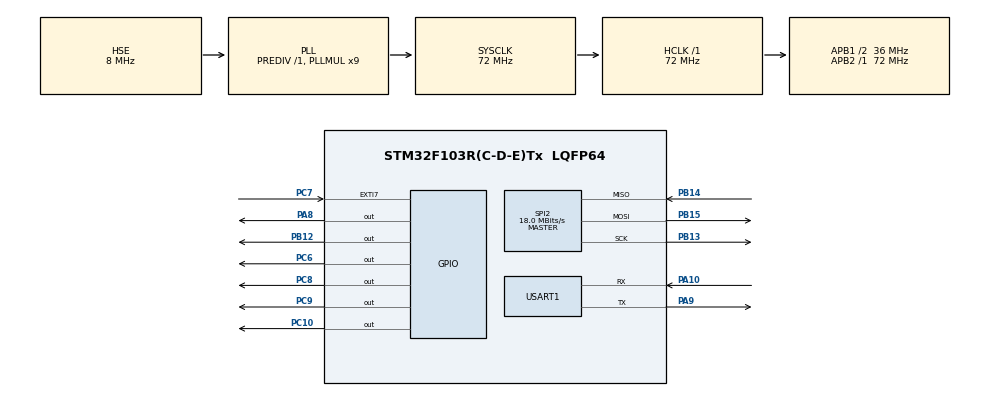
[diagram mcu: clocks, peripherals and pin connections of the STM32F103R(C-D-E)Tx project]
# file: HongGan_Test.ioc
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Mcu.Family=STM32F1
Mcu.Name=STM32F103R(C-D-E)Tx
Mcu.Package=LQFP64
NVIC.EXTI9_5_IRQn=true\:1\:0\:true\:false\:true\:true\:true
NVIC.PriorityGroup=NVIC_PRIORITYGROUP_4
NVIC.TIM2_IRQn=true\:2\:0\:true\:false\:true\:true\:true
NVIC.USART1_IRQn=true\:0\:0\:false\:false\:true\:true\:true
PA10.Mode=Asynchronous
PA10.Signal=USART1_RX
PA8.Signal=GPIO_Output
PA9.Mode=Asynchronous
PA9.Signal=USART1_TX
PB12.GPIO_Speed=GPIO_SPEED_FREQ_MEDIUM
PB12.Signal=GPIO_Output
PB13.Mode=Full_Duplex_Master
PB13.Signal=SPI2_SCK
PB14.Mode=Full_Duplex_Master
PB14.Signal=SPI2_MISO
PB15.Mode=Full_Duplex_Master
PB15.Signal=SPI2_MOSI
PC10.Signal=GPIO_Output
PC6.Signal=GPIO_Output
PC7.Signal=GPXTI7
PC8.Signal=GPIO_Output
PC9.Signal=GPIO_Output
PD0-OSC_IN.Mode=HSE-External-Oscillator
PD0-OSC_IN.Signal=RCC_OSC_IN
PD1-OSC_OUT.Mode=HSE-External-Oscillator
PD1-OSC_OUT.Signal=RCC_OSC_OUT
ProjectManager.HeapSize=0x200
ProjectManager.StackSize=0x400
ProjectManager.TargetToolchain=MDK-ARM V5.27
RCC.AHBFreq_Value=72000000
RCC.APB1CLKDivider=RCC_HCLK_DIV2
RCC.APB1Freq_Value=36000000
RCC.APB1TimFreq_Value=72000000
RCC.APB2Freq_Value=72000000
RCC.APB2TimFreq_Value=72000000
RCC.HCLKFreq_Value=72000000
RCC.PLLMUL=RCC_PLL_MUL9
RCC.PLLSourceVirtual=RCC_PLLSOURCE_HSE
RCC.SYSCLKFreq_VALUE=72000000
RCC.SYSCLKSource=RCC_SYSCLKSOURCE_PLLCLK
RCC.USBFreq_Value=72000000
SPI2.CLKPhase=SPI_PHASE_2EDGE
SPI2.CLKPolarity=SPI_POLARITY_HIGH
SPI2.CalculateBaudRate=18.0 MBits/s
SPI2.Direction=SPI_DIRECTION_2LINES
SPI2.Mode=SPI_MODE_MASTER
SPI2.VirtualType=VM_MASTER
TIM2.Period=1000-1
TIM2.Prescaler=72-1
USART1.VirtualMode=VM_ASYNC
VP_SYS_VS_ND.Mode=No_Debug
VP_TIM2_VS_ClockSourceINT.Mode=Internal
board=custom

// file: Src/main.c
/* USER CODE BEGIN Header */
/**
  ******************************************************************************
  * @file           : main.c
  * @brief          : Main program body
  ******************************************************************************
  * @attention
  *
  * <h2><center>&copy; Copyright (c) 2020 STMicroelectronics.
  * All rights reserved.</center></h2>
  *
  * This software component is licensed by ST under BSD 3-Clause license,
  * the "License"; You may not use this file except in compliance with the
  * License. You may obtain a copy of the License at:
  *                        opensource.org/licenses/BSD-3-Clause
  *
  ******************************************************************************
  */
/* USER CODE END Header */

#include "main.h"
#include "spi.h"
#include "tim.h"
#include "usart.h"
#include "gpio.h"

/* USER CODE BEGIN PV */
extern TIM_HandleTypeDef htim2;
uint8 remote_mac[6];
/* USER CODE END PV */

void SystemClock_Config(void);

int main(void)
{

  /* MCU Configuration--------------------------------------------------------*/

  /* Reset of all peripherals, Initializes the Flash interface and the Systick. */
  HAL_Init();

  /* Configure the system clock */
  SystemClock_Config();

  /* Initialize all configured peripherals */
  MX_GPIO_Init();
  MX_SPI2_Init();
  MX_USART1_UART_Init();
  MX_TIM2_Init();
  /* USER CODE BEGIN 2 */
	HAL_TIM_Base_MspDeInit(&htim2);		//先关闭定时器
	reg_wizchip_spi_cbfunc(spi_read_byte,spi_send_byte);          // SPI读写数据函数映射
	reg_wizchip_cs_cbfunc(cs_low,cs_high);                        // SPI片选控制函数映射
	RS485_CON(1);
	printf("\r\nSPI Init Ok!\r\n");
	reset_w5100s();                       // W5100S硬件复位
  PHY_check();                          // 网线检测程序
	set_w5100s_mac();                     // 设置W5100SMAC地址
  set_w5100s_netinfo();                 // 设置W5100S网络参数
  sysinit(0x55,0x55);                   // 初始化4个Socket的发送接收缓存大小
  printf("\r\n W5100S网络参数配置完成，请使用电脑 'PING' W5100SIP地址，检查网络是否畅通\r\n");

  /* USER CODE END 2 */

  /* Infinite loop */
  /* USER CODE BEGIN WHILE */
  while (1)
  {
		hw_ping();                          // 硬件PING发送请求
		if(exti_flag)
		{
			exti_flag = 0;
			switch(getSLIR())
			{
				case 0x01:
					setSLIR(0x01);
					getSLPHAR(remote_mac);
					printf("\r\n已收到来自 %d.%d.%d.%d 的PING回应，对端MAC为： %x:%x:%x:%x:%x:%x。"\
					,hw_ping_ip[0],hw_ping_ip[1],hw_ping_ip[2],hw_ping_ip[3],remote_mac[0],remote_mac[1]\
					,remote_mac[2],remote_mac[3],remote_mac[4],remote_mac[5]);
				break;
				case 0x04:
					setSLIR(0x04);
					printf("\r\n来自 %d.%d.%d.%d 的回复：无法访问目标主机。",hw_ping_ip[0],hw_ping_ip[1],hw_ping_ip[2],hw_ping_ip[3]);
				break;
				default:break;
			}
		}
		LED_RUN_TOGGLE;
		LED_WAR_TOGGLE;
		LED_ERR_TOGGLE;
		HAL_Delay(500);
    /* USER CODE END WHILE */

  }
}

void SystemClock_Config(void)
{
  RCC_OscInitTypeDef RCC_OscInitStruct = {0};
  RCC_ClkInitTypeDef RCC_ClkInitStruct = {0};

  /** Initializes the CPU, AHB and APB busses clocks
  */
  RCC_OscInitStruct.OscillatorType = RCC_OSCILLATORTYPE_HSE;
  RCC_OscInitStruct.HSEState = RCC_HSE_ON;
  RCC_OscInitStruct.HSEPredivValue = RCC_HSE_PREDIV_DIV1;
  RCC_OscInitStruct.HSIState = RCC_HSI_ON;
  RCC_OscInitStruct.PLL.PLLState = RCC_PLL_ON;
  RCC_OscInitStruct.PLL.PLLSource = RCC_PLLSOURCE_HSE;
  RCC_OscInitStruct.PLL.PLLMUL = RCC_PLL_MUL9;
  if (HAL_RCC_OscConfig(&RCC_OscInitStruct) != HAL_OK)
  {
    Error_Handler();
  }
  /** Initializes the CPU, AHB and APB busses clocks
  */
  RCC_ClkInitStruct.ClockType = RCC_CLOCKTYPE_HCLK|RCC_CLOCKTYPE_SYSCLK
                              |RCC_CLOCKTYPE_PCLK1|RCC_CLOCKTYPE_PCLK2;
  RCC_ClkInitStruct.SYSCLKSource = RCC_SYSCLKSOURCE_PLLCLK;
  RCC_ClkInitStruct.AHBCLKDivider = RCC_SYSCLK_DIV1;
  RCC_ClkInitStruct.APB1CLKDivider = RCC_HCLK_DIV2;
  RCC_ClkInitStruct.APB2CLKDivider = RCC_HCLK_DIV1;

  if (HAL_RCC_ClockConfig(&RCC_ClkInitStruct, FLASH_LATENCY_2) != HAL_OK)
  {
    Error_Handler();
  }
}

void Error_Handler(void)
{
}

/************************ (C) COPYRIGHT STMicroelectronics *****END OF FILE****/
